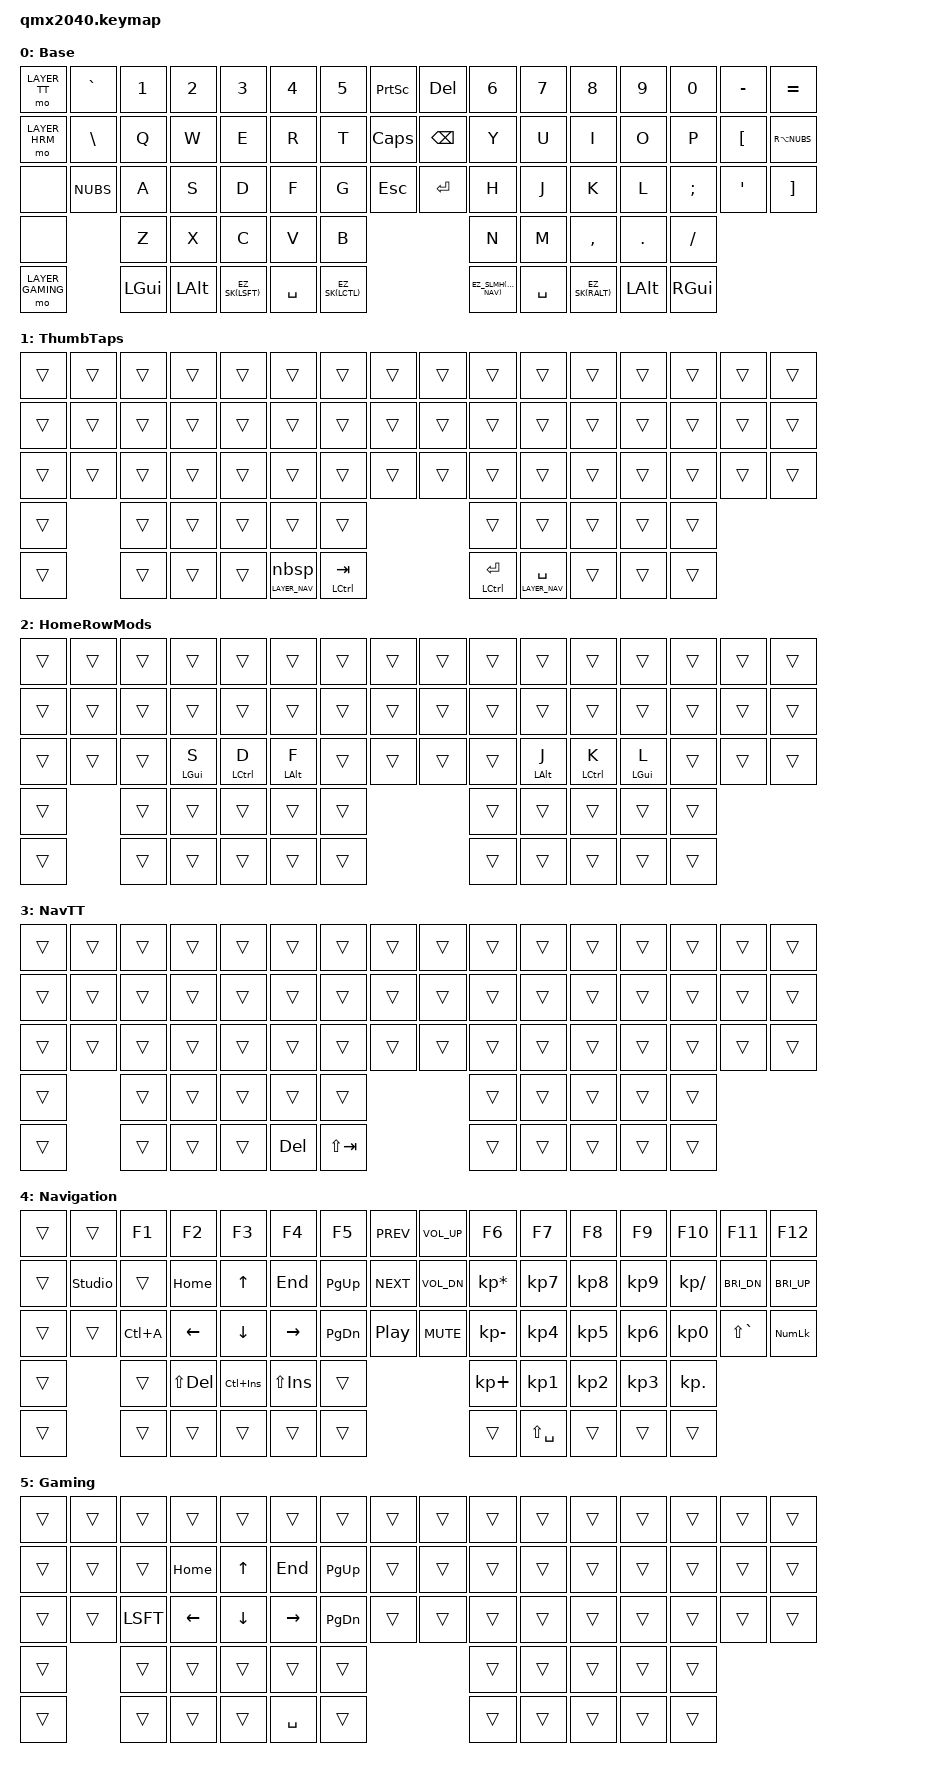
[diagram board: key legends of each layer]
#include <behaviors.dtsi>
#include <dt-bindings/zmk/keys.h>

// Timing is key
#define TAPPING_TERM       300
#define SHORT_TAPPING_TERM 150
#define QUICK_TAP          200

// Human-readable layer indexes
#define LAYER_TT     1
#define LAYER_HRM    2
#define LAYER_NAV_TT 3
#define LAYER_NAV    4
#define LAYER_GAMING 5

// Shorthands
#define HRM_S &hrm LGUI S
#define HRM_D &hrm LCTL D
#define HRM_F &hrm LALT F
#define HRM_J &hrm LALT J
#define HRM_K &hrm LCTL K
#define HRM_L &hrm LGUI L

#define EZ_SL(layer)    bsl   (layer) (layer)
#define EZ_SLMH(layer)  bslmh (layer) (layer)
#define EZ_SK(mod)      bsk   (mod) (mod)

&sl { ignore-modifiers; }; // keep one-shot-mods when chained into a one-shot-layer
&sk { quick-release; };    // must-have! (lots of false positives otherwise)

// add our common tap-hold parametesr to the default options
&mt {
  tapping-term-ms = <SHORT_TAPPING_TERM>;
  quick-tap-ms = <QUICK_TAP>;
};

&lt {
  tapping-term-ms = <TAPPING_TERM>;
  quick-tap-ms = <QUICK_TAP>;
};

/ {
  behaviors {
    hrm: homerow_mods {
      compatible = "zmk,behavior-hold-tap";
      #binding-cells = <2>;
      tapping-term-ms = <TAPPING_TERM>;
      quick-tap-ms = <QUICK_TAP>;
      flavor = "tap-preferred";
      bindings = <&kp>, <&kp>;
    };
    sc: space_cadet { // same as lt, but with hold-preferred
      compatible = "zmk,behavior-hold-tap";
      #binding-cells = <2>;
      tapping-term-ms = <SHORT_TAPPING_TERM>;
      quick-tap-ms = <QUICK_TAP>;
      flavor = "hold-preferred";
      bindings = <&mo>, <&kp>;
    };
    // like ZMK's sticky layer (sl) but with a more robust timing
    osl: one_shot_layer {
      compatible = "zmk,behavior-macro-one-param";
      #binding-cells = <1>;
      tap-ms = <0>;
      wait-ms = <0>;
      bindings = <&macro_param_1to1>, <&macro_tap &sl MACRO_PLACEHOLDER>;
    };
    bsl: better_sticky_layer {
      compatible = "zmk,behavior-hold-tap";
      #binding-cells = <2>;
      tapping-term-ms = <TAPPING_TERM>;
      flavor = "tap-preferred";
      bindings = <&mo>, <&osl>;
    };
    // like ZMK's sticky key (sk) but with a more robust timing
    osm: one_shot_modifier {
      compatible = "zmk,behavior-macro-one-param";
      #binding-cells = <1>;
      tap-ms = <0>;
      wait-ms = <0>;
      bindings = <&macro_param_1to1>, <&macro_tap &sk MACRO_PLACEHOLDER>;
    };
    bsk: better_sticky_key {
      compatible = "zmk,behavior-hold-tap";
      #binding-cells = <2>;
      tapping-term-ms = <TAPPING_TERM>;
      flavor = "tap-preferred";
      bindings = <&kp>, <&osm>;
    };

    // mod-holds
    bslmh: better_sticky_layer_with_held_mods {
      compatible = "zmk,behavior-mod-hold";
      #binding-cells = <2>;
      binding = <&bsl>;
      mods-to-hold = <0xff>;  // every possible modifier
    };
    
    nbsp: non_breaking_space {
      compatible = "zmk,behavior-mod-morph";
      #binding-cells = <0>;
      bindings = <&kp BSPC>, <&kp RA(SPC)>;
      mods = <(MOD_RALT)>;
    };
    scsp: space_cadet_space {
      compatible = "zmk,behavior-hold-tap";
      #binding-cells = <2>;
      tapping-term-ms = <SHORT_TAPPING_TERM>;
      quick-tap-ms = <QUICK_TAP>;
      flavor = "hold-preferred";
      bindings = <&mo>, <&nbsp>;
    };      
  };

  conditional_layers {
    compatible = "zmk,conditional-layers";
    nav_tt {
      if-layers = <LAYER_TT LAYER_NAV>;
      then-layer = <LAYER_NAV_TT>;
    };
  };

  keymap {
    compatible = "zmk,keymap";

    base_layer: base_layer {
      display-name = "Base";
      bindings = <
        &mo LAYER_TT  &kp GRAVE &kp N1   &kp N2   &kp N3       &kp N4  &kp N5 &kp PSCRN &kp DEL   &kp N6              &kp N7  &kp N8       &kp N9   &kp N0   &kp MINUS &kp EQUAL
        &mo LAYER_HRM &kp BSLH  &kp Q    &kp W    &kp E        &kp R   &kp T  &kp CAPS  &kp BSPC  &kp Y               &kp U   &kp I        &kp O    &kp P    &kp LBKT  &kp RA(NUBS)
        &none         &kp NUBS  &kp A    &kp S    &kp D        &kp F   &kp G  &kp ESC   &kp ENTER &kp H               &kp J   &kp K        &kp L    &kp SEMI &kp SQT   &kp RBKT
        &none                   &kp Z    &kp X    &kp C        &kp V   &kp B                      &kp N               &kp M   &kp COMMA    &kp DOT  &kp FSLH
        &mo LAYER_GAMING        &kp LGUI &kp LALT &EZ_SK(LSFT) &kp SPC &EZ_SK(LCTL)               &EZ_SLMH(LAYER_NAV) &kp SPC &EZ_SK(RALT) &kp LALT &kp RGUI
      >;
    };

    thumb_taps_layer: thumb_taps_layer {
      display-name = "ThumbTaps";
      bindings = <
        &trans &trans &trans &trans &trans &trans            &trans &trans &trans &trans         &trans            &trans &trans &trans &trans &trans
        &trans &trans &trans &trans &trans &trans            &trans &trans &trans &trans         &trans            &trans &trans &trans &trans &trans
        &trans &trans &trans &trans &trans &trans            &trans &trans &trans &trans         &trans            &trans &trans &trans &trans &trans
        &trans        &trans &trans &trans &trans            &trans               &trans         &trans            &trans &trans &trans
        &trans        &trans &trans &trans &scsp LAYER_NAV 0 &mt LCTL TAB         &mt LCTL ENTER &lt LAYER_NAV SPC &trans &trans &trans
      >;
    };

    hrm_layer: hrm_layer {
      display-name = "HomeRowMods";
      bindings = <
        &trans &trans &trans &trans &trans &trans &trans &trans &trans &trans &trans &trans &trans &trans &trans &trans
        &trans &trans &trans &trans &trans &trans &trans &trans &trans &trans &trans &trans &trans &trans &trans &trans
        &trans &trans &trans HRM_S  HRM_D  HRM_F  &trans &trans &trans &trans HRM_J  HRM_K  HRM_L  &trans &trans &trans
        &trans        &trans &trans &trans &trans &trans               &trans &trans &trans &trans &trans
        &trans        &trans &trans &trans &trans &trans               &trans &trans &trans &trans &trans
      >;
    };

    nav_tt_layer: nav_tt_layer {
      display-name = "NavTT";
      bindings = <
        &trans &trans &trans &trans &trans &trans &trans &trans &trans &trans &trans &trans &trans &trans &trans &trans
        &trans &trans &trans &trans &trans &trans &trans &trans &trans &trans &trans &trans &trans &trans &trans &trans
        &trans &trans &trans &trans &trans &trans &trans &trans &trans &trans &trans &trans &trans &trans &trans &trans
        &trans        &trans &trans &trans &trans &trans               &trans &trans &trans &trans &trans
        &trans        &trans &trans &trans &kp DEL &kp LS(TAB)         &trans &trans &trans &trans &trans
      >;
    };

    navigation_layer: navigation_layer {
      display-name = "Navigation";
      bindings = <
        &trans &trans         &kp F1    &kp F2      &kp F3      &kp F4      &kp F5    &kp C_PREV &kp C_VOL_UP &kp F6          &kp F7      &kp F8    &kp F9    &kp F10      &kp F11       &kp F12
        &trans &studio_unlock &trans    &kp HOME    &kp UP      &kp END     &kp PG_UP &kp C_NEXT &kp C_VOL_DN &kp KP_MULTIPLY &kp KP_N7   &kp KP_N8 &kp KP_N9 &kp KP_SLASH &kp C_BRI_DN  &kp C_BRI_UP
        &trans &trans         &kp LC(A) &kp LEFT    &kp DOWN    &kp RIGHT   &kp PG_DN &kp C_PP   &kp C_MUTE   &kp KP_MINUS    &kp KP_N4   &kp KP_N5 &kp KP_N6 &kp KP_N0    &kp LS(GRAVE) &kp KP_NUM
        &trans                &trans    &kp LS(DEL) &kp LC(INS) &kp LS(INS) &trans                            &kp KP_PLUS     &kp KP_N1   &kp KP_N2 &kp KP_N3 &kp KP_DOT
        &trans                &trans    &trans      &trans      &trans      &trans                            &trans          &kp LS(SPC) &trans    &trans    &trans
      >;
    };
    
    gaming_layer: gaming_layer {
      display-name = "Gaming";
      bindings = <
        &trans &trans &trans   &trans   &trans   &trans    &trans    &trans &trans &trans &trans &trans &trans &trans &trans &trans
        &trans &trans &trans   &kp HOME &kp UP   &kp END   &kp PG_UP &trans &trans &trans &trans &trans &trans &trans &trans &trans
        &trans &trans &kp LSFT &kp LEFT &kp DOWN &kp RIGHT &kp PG_DN &trans &trans &trans &trans &trans &trans &trans &trans &trans
        &trans        &trans   &trans   &trans   &trans    &trans                  &trans &trans &trans &trans &trans
        &trans        &trans   &trans   &trans   &kp SPACE &trans                  &trans &trans &trans &trans &trans
      >;
    };
  };
};
